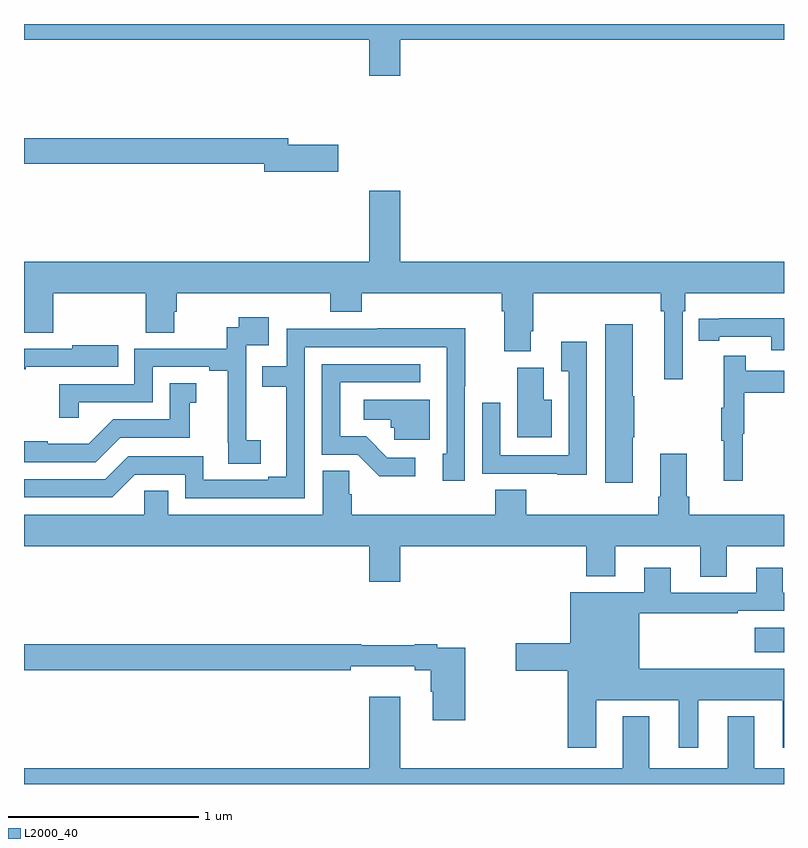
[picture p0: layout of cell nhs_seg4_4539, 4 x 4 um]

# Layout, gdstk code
import gdstk
lib = gdstk.Library(unit=1e-6, precision=1e-09)
def R(c, l, rs):  # rectangles x0, y0, x1, y1
    for r in rs: c.add(gdstk.rectangle(r[:2], r[2:], *l))
def P(c, l, *ps):  # polygons
    for p in ps: c.add(gdstk.Polygon(p, *l))
L2000_40 = (2000, 40)

nhs_seg4_4539 = lib.new_cell('nhs_seg4_4539')
R(nhs_seg4_4539, L2000_40, [(358.845,797.594,359,797.722)])
P(nhs_seg4_4539, L2000_40, [(356.98,800.816),(359,800.816),(359,800.9),(355,800.9),(355,800.816),(356.816,800.816),(356.816,800.628),(356.98,800.628)],
  [(356.653,800.264),(356.392,800.264),(356.392,800.3),(355,800.3),(355,800.164),(356.264,800.164),(356.264,800.122),(356.653,800.122)],
  [(358.467,799.388),(358.481,799.388),(358.481,799.484),(359,799.484),(359,799.648),(356.98,799.648),(356.98,800.023),(356.816,800.023),(356.816,799.648),(355,799.648),(355,799.484),(355.001,799.484),(355.001,799.276),(355.154,799.276),(355.154,799.484),(355.64,799.484),(355.64,799.276),(355.792,799.276),(355.792,799.386),(355.805,799.386),(355.805,799.484),(356.612,799.484),(356.612,799.385),(356.777,799.385),(356.777,799.484),(357.515,799.484),(357.515,799.388),(357.527,799.388),(357.527,799.177),(357.667,799.177),(357.667,799.282),(357.68,799.282),(357.68,799.484),(358.351,799.484),(358.351,799.388),(358.37,799.388),(358.37,799.029),(358.467,799.029)],
  [(356.245,798.708),(356.171,798.708),(356.171,798.905),(356.169,798.905),(356.169,799.209),(356.287,799.209),(356.287,799.357),(356.131,799.357),(356.131,799.305),(356.068,799.305),(356.068,799.191),(355.581,799.191),(355.581,799.005),(355.186,799.005),(355.186,798.828),(355.287,798.828),(355.287,798.909),(355.677,798.909),(355.677,799.095),(355.976,799.095),(355.976,799.075),(356.072,799.075),(356.072,798.697),(356.074,798.697),(356.074,798.586),(356.245,798.586)],
  [(359,799.351),(358.66,799.351),(358.66,799.35),(358.552,799.35),(358.552,799.234),(358.66,799.234),(358.66,799.254),(358.932,799.254),(358.932,799.182),(359,799.182)],
  [(358.204,798.724),(358.212,798.724),(358.212,798.941),(358.204,798.941),(358.204,799.321),(358.058,799.321),(358.058,798.486),(358.204,798.486)],
  [(356.478,799.2),(357.225,799.2),(357.225,798.639),(357.203,798.639),(357.203,798.495),(357.321,798.495),(357.321,798.994),(357.323,798.994),(357.323,799.298),(356.86,799.298),(356.86,799.296),(356.382,799.296),(356.382,799.098),(356.254,799.098),(356.254,798.99),(356.381,798.99),(356.381,798.516),(356.285,798.516),(356.285,798.501),(355.944,798.501),(355.944,798.624),(355.548,798.624),(355.428,798.504),(355,798.504),(355,798.408),(355.464,798.408),(355.584,798.528),(355.848,798.528),(355.848,798.405),(356.478,798.405)],
  [(357.963,799.228),(357.827,799.228),(357.827,799.072),(357.867,799.072),(357.867,798.63),(357.507,798.63),(357.507,798.907),(357.411,798.907),(357.411,798.534),(357.807,798.534),(357.807,798.527),(357.963,798.527)],
  [(355.009,799.095),(355.496,799.095),(355.496,799.21),(355.253,799.21),(355.253,799.191),(355,799.191),(355,799.083),(355.009,799.083)],
  [(358.784,798.744),(358.792,798.744),(358.792,798.958),(359,798.958),(359,799.074),(358.799,799.074),(358.799,799.153),(358.682,799.153),(358.682,798.881),(358.671,798.881),(358.671,798.707),(358.682,798.707),(358.682,798.495),(358.784,798.495)],
  [(357.058,798.618),(356.913,798.618),(356.802,798.729),(356.664,798.729),(356.664,799.014),(357.085,799.014),(357.085,799.11),(356.568,799.11),(356.568,798.633),(356.757,798.633),(356.87,798.521),(357.058,798.521)],
  [(357.778,798.922),(357.736,798.922),(357.736,799.092),(357.596,799.092),(357.596,798.725),(357.778,798.725)],
  [(355.506,798.723),(355.873,798.723),(355.873,798.907),(355.906,798.907),(355.906,799.01),(355.766,799.01),(355.766,798.819),(355.47,798.819),(355.342,798.691),(355.124,798.691),(355.124,798.703),(355,798.703),(355,798.594),(355.377,798.594)],
  [(357.136,798.922),(356.787,798.922),(356.787,798.818),(356.931,798.818),(356.931,798.774),(356.949,798.774),(356.949,798.711),(357.136,798.711)],
  [(356.98,798.152),(357.959,798.152),(357.959,797.993),(358.111,797.993),(358.111,798.152),(358.559,798.152),(358.559,797.992),(358.699,797.992),(358.699,798.152),(359,798.152),(359,798.316),(358.502,798.316),(358.502,798.412),(358.489,798.412),(358.489,798.637),(358.349,798.637),(358.349,798.412),(358.337,798.412),(358.337,798.316),(357.644,798.316),(357.644,798.449),(357.479,798.449),(357.479,798.316),(356.726,798.316),(356.726,798.425),(356.712,798.425),(356.712,798.548),(356.573,798.548),(356.573,798.316),(355.759,798.316),(355.759,798.443),(355.632,798.443),(355.632,798.316),(355,798.316),(355,798.152),(356.816,798.152),(356.816,797.964),(356.98,797.964)],
  [(358.012,797.342),(358.445,797.342),(358.445,797.091),(358.549,797.091),(358.549,797.342),(358.994,797.342),(358.994,797.091),(359,797.091),(359,797.506),(358.237,797.506),(358.237,797.799),(358.757,797.799),(358.757,797.811),(359,797.811),(359,797.907),(358.993,797.907),(358.993,798.037),(358.853,798.037),(358.853,797.907),(358.405,797.907),(358.405,798.037),(358.265,798.037),(358.265,797.908),(357.875,797.908),(357.875,797.642),(357.588,797.642),(357.588,797.495),(357.863,797.495),(357.863,797.091),(358.012,797.091)],
  [(357.323,797.616),(357.176,797.616),(357.176,797.636),(357.056,797.636),(357.056,797.629),(356.776,797.629),(356.776,797.636),(355,797.636),(355,797.5),(356.72,797.5),(356.72,797.519),(357.056,797.519),(357.056,797.5),(357.14,797.5),(357.14,797.385),(357.152,797.385),(357.152,797.235),(357.323,797.235)],
  [(359,796.984),(358.843,796.984),(358.843,797.257),(358.703,797.257),(358.703,796.984),(358.291,796.984),(358.291,797.257),(358.151,797.257),(358.151,796.984),(356.98,796.984),(356.98,797.359),(356.816,797.359),(356.816,796.984),(355,796.984),(355,796.9),(359,796.9)])

lib.write_gds('nhs_seg4_4539.gds')
